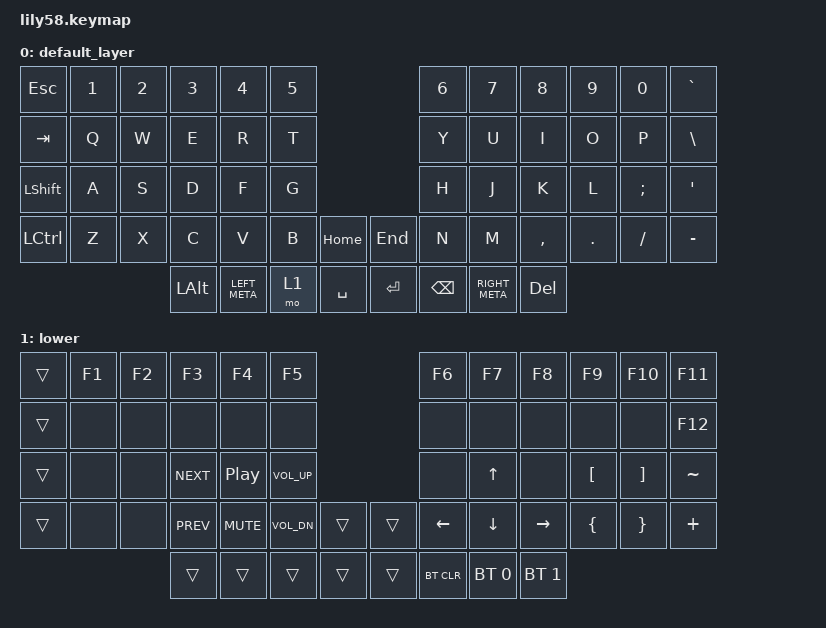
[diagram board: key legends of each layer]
/*
 * Copyright (c) 2020 The ZMK Contributors
 *
 * SPDX-License-Identifier: MIT
 */

#include <behaviors.dtsi>
#include <dt-bindings/zmk/bt.h>
#include <dt-bindings/zmk/keys.h>

#define DEFAULT     0
#define SYMBOL      1
#define BLUETOOTH   2

/ {
    keymap {
        compatible = "zmk,keymap";

        default_layer {
            // ------------------------------------------------------------------------------------------------------------
            // |  ESC  |  1  |  2  |  3   |  4   |  5   |                               |  6   |  7    |  8    |  9   |   0   |   `   |
            // |  TAB  |  Q  |  W  |  E   |  R   |  T   |                               |  Y   |  U    |  I    |  O   |   P   |   -   |
            // |  HOME |  A  |  S  |  D   |  F   |  G   |                               |  H   |  J    |  K    |  L   |   ;   |   '   |
            // |  END  |  Z  |  X  |  C   |  V   |  B   |   "prv tab"  |  |  "nxt tab"  |  N   |  M    |  ,    |  .   |   /   | RCLK  |
            //                     | ALT  |LCTRL | SHFT |  SPACE |              | ENTER | BSPC | LGUI  | SYMBOL |

            bindings = <
&kp ESC           &kp N1  &kp N2  &kp N3    &kp N4         &kp N5                        &kp N6    &kp N7          &kp N8      &kp N9   &kp N0    &kp GRAVE
&kp TAB           &kp Q   &kp W   &kp E     &kp R          &kp T                         &kp Y     &kp U           &kp I       &kp O    &kp P     &kp BACKSLASH
&kp LEFT_SHIFT    &kp A   &kp S   &kp D     &kp F          &kp G                         &kp H     &kp J           &kp K       &kp L    &kp SEMI  &kp SQT
&kp LEFT_CONTROL  &kp Z   &kp X   &kp C     &kp V          &kp B   &kp HOME     &kp END  &kp N     &kp M           &kp COMMA   &kp DOT  &kp FSLH  &kp MINUS
                                  &kp LALT  &kp LEFT_META  &mo 1   &kp SPACE    &kp RET  &kp BSPC  &kp RIGHT_META  &kp DELETE
            >;
        };

        lower {
            // ------------------------------------------------------------------------------------------------------------
            // | BTCLR | BT1 | BT2 |  BT3 |  BT4 |  BT5 |                   |      |       |       |      |       |       |
            // |  F1   |  F2 |  F3 |  F4  |  F5  |  F6  |                   |  F7  |  F8   |  F9   |  F10 |  F11  |  F12  |
            // |   `   |  !  |  @  |  #   |  $   |  %   |                   |  ^   |  &    |  *    |  (   |   )   |   ~   |
            // |       |     |     |      |      |      |        |  |       |      |  _    |  +    |  {   |   }   |  "|"  |
            //                     |      |      |      |        |  |       |      |       |       |

            bindings = <
&trans  &kp F1  &kp F2  &kp F3      &kp F4            &kp F5                          &kp F6      &kp F7        &kp F8        &kp F9            &kp F10            &kp F11
&trans  &none   &none   &none       &none             &none                           &none       &none         &none         &none             &none              &kp F12
&trans  &none   &none   &kp C_NEXT  &kp C_PLAY_PAUSE  &kp C_VOL_UP                    &none       &kp UP        &none         &kp LEFT_BRACKET  &kp RIGHT_BRACKET  &kp TILDE
&trans  &none   &none   &kp C_PREV  &kp C_MUTE        &kp C_VOL_DN  &trans    &trans  &kp LEFT    &kp DOWN      &kp RIGHT     &kp LBRC          &kp RBRC           &kp PLUS
                        &trans      &trans            &trans        &trans    &trans  &bt BT_CLR  &bt BT_SEL 0  &bt BT_SEL 1
            >;
        };
    };
};
